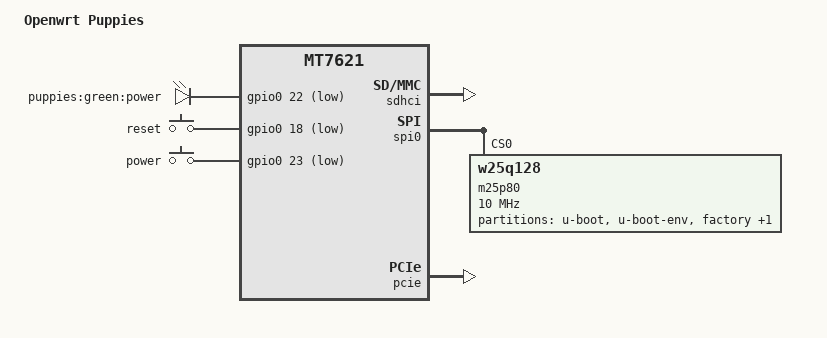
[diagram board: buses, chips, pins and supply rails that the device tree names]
/dts-v1/;

#include "mt7621.dtsi"

/ {
	compatible = "mediatek,mt7621-eval-board", "mediatek,mt7621-soc";
	model = "Openwrt Puppies";

	chosen {
		bootargs = "console=ttyS0,57600";
	};

	gpio-leds {
		compatible = "gpio-leds";

		power {
			label = "puppies:green:power";
			gpios = <&gpio0 22 1>;
		};
	};

	gpio-keys-polled {
		compatible = "gpio-keys-polled";
		#address-cells = <1>;
		#size-cells = <0>;
		poll-interval = <20>;

		reset {
			label = "reset";
			gpios = <&gpio0 18 1>;
			linux,code = <0x198>;
		};

		power {
			label = "power";
			gpios = <&gpio0 23 1>;
			linux,code = <0x116>;
		};
	};
};

&sdhci {
	status = "okay";
};

&spi0 {
	status = "okay";

	m25p80@0 {
		#address-cells = <1>;
		#size-cells = <1>;
		compatible = "w25q128";
		reg = <0>;
		linux,modalias = "m25p80";
		spi-max-frequency = <10000000>;
		m25p,chunked-io = <32>;

		partition@0 {
			label = "u-boot";
			reg = <0x0 0x30000>;
			read-only;
		};

		partition@30000 {
			label = "u-boot-env";
			reg = <0x30000 0x10000>;
		};

		factory: partition@40000 {
			label = "factory";
			reg = <0x40000 0x10000>;
		};

		partition@50000 {
			label = "firmware";
			reg = <0x50000 0xfb0000>;
		};
	};
};

&pcie {
	status = "okay";

	pcie0 {
		mt76@0,0 {
			reg = <0x0000 0 0 0 0>;
			device_type = "pci";
			mediatek,mtd-eeprom = <&factory 0x8000>;
			mediatek,2ghz = <0>;
		};
	};

	pcie1 {
		mt76@1,0 {
			reg = <0x0000 0 0 0 0>;
			device_type = "pci";
			mediatek,mtd-eeprom = <&factory 0x0000>;
			mediatek,5ghz = <0>;
		};
	};
};

&ethernet {
	mtd-mac-address = <&factory 0xe000>;
};

&pinctrl {
	state_default: pinctrl0 {
		gpio {
			ralink,group = "wdt", "rgmii2";
			ralink,function = "gpio";
		};
	};
};
